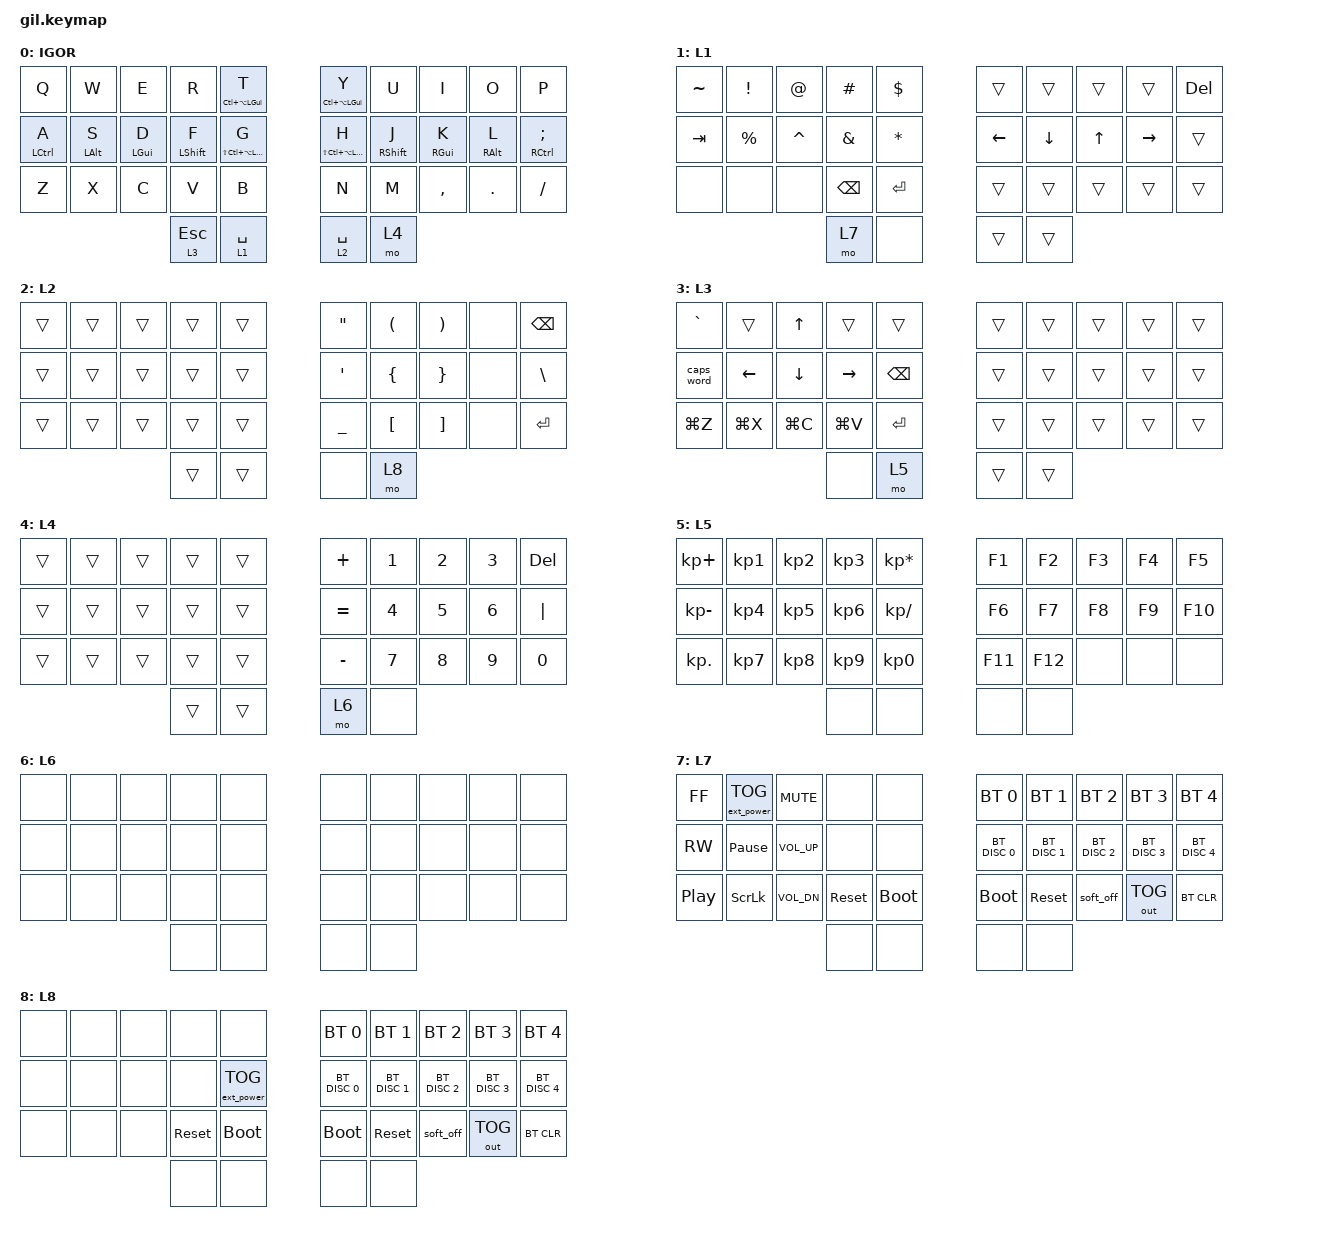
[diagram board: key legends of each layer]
#include <behaviors.dtsi>
#include <dt-bindings/zmk/keys.h>
#include <dt-bindings/zmk/bt.h>
#include <dt-bindings/zmk/outputs.h>
#include <dt-bindings/zmk/ext_power.h>

&lt {
    tapping-term-ms= <200>;
    quick-tap-ms = <200>;
    flavor = "tap-preferred";
};
&mt {
    tapping-term-ms = <150>;
    quick-tap-ms = <200>;
    flavor = "tap-preferred";
};
&soft_off {
    hold-time-ms = <5000>; // Only turn off it the key is held for 5 seconds or longer.
};

/ {

    behaviors {
        hy: hyperkey_mods {
            compatible = "zmk,behavior-hold-tap";
            #binding-cells = <2>;
            tapping-term-ms = <400>;
            quick-tap-ms = <200>;
            require-prior-idle-ms = <200>;
            flavor = "tap-preferred";
            bindings = <&kp>, <&kp>;
        };
        hm: homerow_mods {
            compatible = "zmk,behavior-hold-tap";
            #binding-cells = <2>;
            tapping-term-ms = <200>;
            quick-tap-ms = <200>;
            flavor = "tap-preferred";
            bindings = <&kp>, <&kp>;
        };
    };

    keymap {
        compatible = "zmk,keymap";
        default_layer {
            label = "IGOR";
            bindings = <
&kp Q       &kp W      &kp E      &kp R       &hy LC(LA(LGUI)) T       &hy LC(LA(LGUI)) Y     &kp U        &kp I       &kp O      &kp P
&hm LCTRL A &hm LALT S &hm LGUI D &hm LSHFT F &hy LS(LC(LA(LGUI))) G   &hy LS(LC(LA(LGUI))) H &hm RSHFT J  &hm RGUI K  &hm RALT L &hm RCTRL SEMICOLON
&kp Z       &kp X      &kp C      &kp V       &kp B                    &kp N                  &kp M        &kp COMMA   &kp DOT    &kp SLASH
                                  &lt 3 ESC   &lt 1 SPACE              &lt 2 SPACE            &mo 4
            >;
        };
        layer_1 {
            label = "L1";
            bindings = <
&kp TILDE  &kp EXCL   &kp AT     &kp HASH  &kp DLLR    &trans    &trans   &trans  &trans     &kp DEL
&kp TAB    &kp PRCNT  &kp CARET  &kp AMPS  &kp ASTRK   &kp LEFT  &kp DOWN &kp UP  &kp RIGHT  &trans
&none      &none      &none      &kp BSPC  &kp ENTER   &trans    &trans   &trans  &trans     &trans
                                 &mo 7     &none       &trans    &trans
            >;
        };
        layer_2 {
            label = "L2";
            bindings = <
&trans &trans &trans &trans &trans    &kp DQT   &kp LPAR  &kp RPAR  &none  &kp BSPC
&trans &trans &trans &trans &trans    &kp SQT   &kp LBRC  &kp RBRC  &none  &kp BSLH
&trans &trans &trans &trans &trans    &kp UNDER &kp LBKT  &kp RBKT  &none  &kp ENTER
                     &trans &trans    &none     &mo 8
            >;
        };
        layer_3 {
            label = "L3";
            bindings = <
&kp GRAVE  &trans    &kp UP     &trans      &trans       &trans  &trans  &trans  &trans  &trans
&caps_word &kp LEFT  &kp DOWN   &kp RIGHT   &kp BSPC     &trans  &trans  &trans  &trans  &trans
&kp LG(Z)  &kp LG(X) &kp LG(C)  &kp LG(V)   &kp ENTER    &trans  &trans  &trans  &trans  &trans
                                &none       &mo 5        &trans  &trans
            >;
        };
        layer_4 {
            label = "L4";
            bindings = <
&trans &trans &trans &trans &trans    &kp PLUS   &kp N1  &kp N2  &kp N3  &kp DEL
&trans &trans &trans &trans &trans    &kp EQUAL  &kp N4  &kp N5  &kp N6  &kp PIPE
&trans &trans &trans &trans &trans    &kp MINUS  &kp N7  &kp N8  &kp N9  &kp N0
                     &trans &trans    &mo 6      &none
            >;
        };
        layer_5 {
            label = "L5";
            bindings = <
&kp KP_PLUS   &kp KP_N1  &kp KP_N2  &kp KP_N3  &kp KP_ASTERISK   &kp F1   &kp F2   &kp F3   &kp F4      &kp F5
&kp KP_MINUS  &kp KP_N4  &kp KP_N5  &kp KP_N6  &kp KP_SLASH      &kp F6   &kp F7   &kp F8   &kp F9      &kp F10
&kp KP_DOT    &kp KP_N7  &kp KP_N8  &kp KP_N9  &kp KP_N0         &kp F11  &kp F12  &none    &none       &none
                                    &none      &none             &none    &none
            >;
        };
        layer_6 {
            label = "L6";
            bindings = <
&none &none &none &none &none  &none &none &none &none &none
&none &none &none &none &none  &none &none &none &none &none
&none &none &none &none &none  &none &none &none &none &none
                  &none &none  &none &none
            >;
        };
        layer_7 {
            label = "L7";
            bindings = <
&kp C_FF &ext_power EP_TOG &kp K_MUTE   &none      &none        &bt BT_SEL 0   &bt BT_SEL 1  &bt BT_SEL 2  &bt BT_SEL 3   &bt BT_SEL 4
&kp C_RW &kp PAUSE_BREAK   &kp K_VOL_UP &none      &none        &bt BT_DISC 0  &bt BT_DISC 1 &bt BT_DISC 2 &bt BT_DISC 3  &bt BT_DISC 4
&kp C_PP &kp SLCK          &kp K_VOL_DN &sys_reset &bootloader  &bootloader    &sys_reset    &soft_off     &out OUT_TOG   &bt BT_CLR
                                      &none      &none          &none          &none
            >;
        };
        layer_8 {
            label = "L8";
            bindings = <
&none &none &none &none      &none              &bt BT_SEL 0   &bt BT_SEL 1  &bt BT_SEL 2  &bt BT_SEL 3   &bt BT_SEL 4
&none &none &none &none      &ext_power EP_TOG  &bt BT_DISC 0  &bt BT_DISC 1 &bt BT_DISC 2 &bt BT_DISC 3  &bt BT_DISC 4
&none &none &none &sys_reset &bootloader        &bootloader    &sys_reset    &soft_off     &out OUT_TOG   &bt BT_CLR
                  &none      &none              &none          &none
            >;
        };
    };
};

